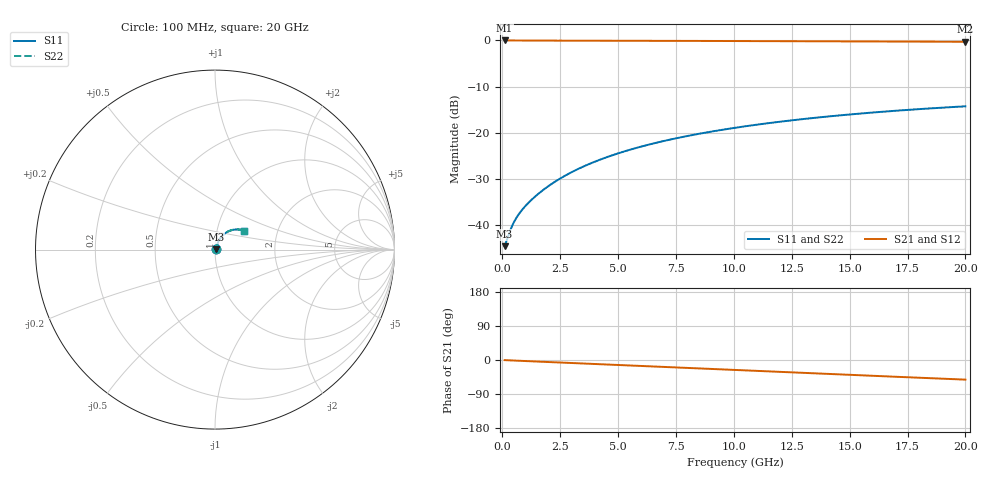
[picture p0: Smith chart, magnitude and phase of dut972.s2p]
! Touchstone file exported from HFSS 2026.1.0
!  File:  C:/ffzhzh/LocalFiles/Ansys_Project_Files/temp_train_BSMRDL_972_1783172633_22436.aedt
!  Generated:  09:45:01 PM Jul  4, 2026
!  Design:  BSMRDL
!  Project:  temp_train_BSMRDL_972_1783172633_22436
! Variables:
!  h_bsmrdl = 2.22um
!  h_ox = 20um
!  h_rdl = 5um
!  h_sub = 80um
!  h_tmrdl = 5um
!  h_tsv = 80um
!  h_via = 3um
!  l_bsmrdl = 888.37um
!  l_sub = 1288.37um
!  l_tmrdl = 200um
!  m_sub = 200um
!  pitch = 34.72um
!  r_tsv = 6um
!  s_tmrdl = 10um
!  w_bsmrdl = 26.65um
!  w_sub = 500um
!  w_tmrdl = 12um
!  x_tsv_center1 = 206um
!  x_tsv_center2 = 1121.02um
!  x_tsv_center3 = 1333.02um
!  x_tsv_center4 = 2248.04um
!  x_tsv_center5 = 2460.04um
!  x_tsv_center6 = 3375.06um
# GHz S MA R 50.000000
! Terminal data exported
! Port[1] = BSM_RDL1_1_T1
! Port[2] = BSM_RDL1_1_T2
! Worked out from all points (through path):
!   200 points, 100 MHz to 20 GHz, reference 50 ohm
!   highest |S21| = -0.05 dB at 100 MHz (marker M1); lowest = -0.3 dB at 20 GHz (marker M2)
!   group delay of S21, straight-line fit = 7.18 ps
!   lowest |S11| = -44.5 dB at 100 MHz (marker M3), VSWR 1.01, Z = 50.6 + j0.186 ohm
!   |S11| at or under -10 dB: start of sweep to end of sweep
!   |S22| runs from -44.5 to -14.3 dB; largest |S21 - S12| = 3.6e-15
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0.1  0.00596 18.0  0.9943 -0.3  0.9943 -0.3  0.00596 18.0
! Gamma 0 0 0 0
! Port Impedance 50 0 50 0
0.3  0.008255 38.5  0.9936 -0.9  0.9936 -0.9  0.008255 38.5
0.4  0.009554 43.2  0.9931 -1.2  0.9931 -1.2  0.009555 43.2
0.5  0.0108 46.4  0.9927 -1.4  0.9927 -1.4  0.0108 46.4
0.6  0.01197 48.7  0.9923 -1.7  0.9923 -1.7  0.01197 48.7
0.8  0.01414 52.3  0.9917 -2.2  0.9917 -2.2  0.01414 52.3
1.1  0.01723 56.4  0.9911 -3.0  0.9911 -3.0  0.01723 56.4
1.3  0.01927 58.6  0.9909 -3.5  0.9909 -3.5  0.01927 58.6
1.6  0.02238 61.2  0.9905 -4.3  0.9905 -4.3  0.02238 61.2
2.2  0.02879 64.6  0.9901 -5.9  0.9901 -5.9  0.02879 64.6
2.8  0.03539 66.4  0.9896 -7.5  0.9896 -7.5  0.03539 66.4
3.5  0.04319 67.1  0.989 -9.3  0.989 -9.3  0.04319 67.1
4.2  0.05103 67.1  0.9883 -11.2  0.9883 -11.2  0.05102 67.1
5  0.05996 66.4  0.9875 -13.3  0.9875 -13.3  0.05995 66.4
5.9  0.0699 65.2  0.9864 -15.7  0.9864 -15.7  0.06989 65.2
6.8  0.07968 63.6  0.9852 -18.0  0.9852 -18.0  0.07967 63.6
8.4  0.09659 60.4  0.9828 -22.2  0.9828 -22.2  0.09657 60.4
10.1  0.1137 56.7  0.98 -26.6  0.98 -26.6  0.1137 56.7
11.7  0.129 53.0  0.9772 -30.7  0.9772 -30.7  0.129 53.0
13.4  0.1443 49.0  0.9741 -35.1  0.9741 -35.1  0.1443 48.9
16.7  0.1709 41.1  0.968 -43.5  0.968 -43.5  0.1709 41.0
20  0.1932 33.2  0.9623 -51.8  0.9623 -51.8  0.1931 33.1
